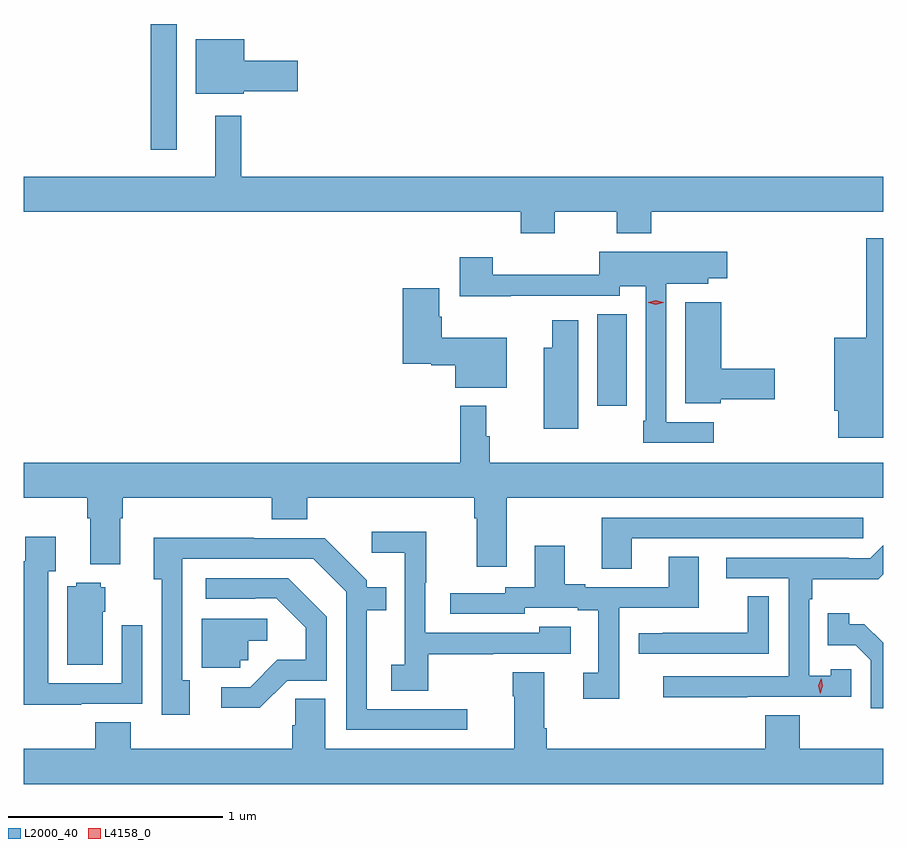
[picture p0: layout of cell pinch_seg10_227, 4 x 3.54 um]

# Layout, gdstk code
import gdstk
lib = gdstk.Library(unit=1e-6, precision=1e-09)
def R(c, l, rs):  # rectangles x0, y0, x1, y1
    for r in rs: c.add(gdstk.rectangle(r[:2], r[2:], *l))
def P(c, l, *ps):  # polygons
    for p in ps: c.add(gdstk.Polygon(p, *l))
L2000_40 = (2000, 40)
L4158_0 = (4158, 0)

pinch_seg10_227 = lib.new_cell('pinch_seg10_227')
R(pinch_seg10_227, L2000_40, [(618.452,1295.418,618.589,1295.843), (616.374,1296.609,616.495,1297.194)])
P(pinch_seg10_227, L2000_40, [(616.806,1296.88),(617.059,1296.88),(617.059,1297.022),(616.81,1297.022),(616.81,1297.123),(616.583,1297.123),(616.583,1296.869),(616.806,1296.869)],
  [(618.255,1296.32),(618.544,1296.32),(618.544,1296.221),(618.704,1296.221),(618.704,1296.32),(619.783,1296.32),(619.783,1296.484),(616.795,1296.484),(616.795,1296.766),(616.673,1296.766),(616.673,1296.484),(615.783,1296.484),(615.783,1296.32),(618.095,1296.32),(618.095,1296.221),(618.255,1296.221)],
  [(619.783,1296.196),(619.704,1296.196),(619.704,1295.734),(619.556,1295.734),(619.556,1295.394),(619.574,1295.394),(619.574,1295.267),(619.783,1295.267)],
  [(618.994,1295.34),(618.774,1295.34),(618.774,1295.984),(618.969,1295.984),(618.969,1296.011),(619.057,1296.011),(619.057,1296.133),(618.462,1296.133),(618.462,1296.026),(617.966,1296.026),(617.966,1296.109),(617.813,1296.109),(617.813,1295.927),(618.049,1295.927),(618.049,1295.928),(618.558,1295.928),(618.558,1295.972),(618.678,1295.972),(618.678,1295.347),(618.666,1295.347),(618.666,1295.244),(618.994,1295.244)],
  [(618.031,1295.734),(617.729,1295.734),(617.729,1295.831),(617.716,1295.831),(617.716,1295.965),(617.546,1295.965),(617.546,1295.612),(617.679,1295.612),(617.679,1295.605),(617.792,1295.605),(617.792,1295.501),(618.031,1295.501)],
  [(619.026,1295.446),(619.279,1295.446),(619.279,1295.588),(619.03,1295.588),(619.03,1295.899),(618.863,1295.899),(618.863,1295.429),(619.026,1295.429)],
  [(618.364,1295.815),(618.242,1295.815),(618.242,1295.686),(618.203,1295.686),(618.203,1295.309),(618.364,1295.309)],
  [(618.031,1294.988),(619.783,1294.988),(619.783,1295.152),(617.951,1295.152),(617.951,1295.276),(617.936,1295.276),(617.936,1295.416),(617.815,1295.416),(617.815,1295.152),(615.783,1295.152),(615.783,1294.988),(616.079,1294.988),(616.079,1294.892),(616.091,1294.892),(616.091,1294.679),(616.231,1294.679),(616.231,1294.892),(616.244,1294.892),(616.244,1294.988),(616.937,1294.988),(616.937,1294.889),(617.102,1294.889),(617.102,1294.988),(617.879,1294.988),(617.879,1294.892),(617.891,1294.892),(617.891,1294.668),(618.031,1294.668)],
  [(618.613,1294.8),(619.69,1294.8),(619.69,1294.896),(618.473,1294.896),(618.473,1294.657),(618.613,1294.657)],
  [(617.665,1294.261),(617.969,1294.261),(617.969,1294.263),(618.328,1294.263),(618.328,1294.387),(618.183,1294.387),(618.183,1294.359),(617.652,1294.359),(617.652,1294.592),(617.655,1294.592),(617.655,1294.831),(617.403,1294.831),(617.403,1294.733),(617.556,1294.733),(617.556,1294.212),(617.493,1294.212),(617.493,1294.09),(617.665,1294.09)],
  [(616.051,1294.029),(616.335,1294.029),(616.335,1294.396),(616.239,1294.396),(616.239,1294.125),(615.897,1294.125),(615.897,1294.646),(615.931,1294.646),(615.931,1294.807),(615.789,1294.807),(615.789,1294.694),(615.783,1294.694),(615.783,1294.025),(616.051,1294.025)],
  [(617.848,1294.005),(617.38,1294.005),(617.38,1294.464),(617.471,1294.464),(617.471,1294.573),(617.379,1294.573),(617.379,1294.605),(617.184,1294.8),(616.853,1294.8),(616.853,1294.802),(616.388,1294.802),(616.388,1294.61),(616.425,1294.61),(616.425,1293.978),(616.555,1293.978),(616.555,1294.138),(616.521,1294.138),(616.521,1294.704),(617.13,1294.704),(617.283,1294.551),(617.283,1293.909),(617.848,1293.909)],
  [(619.151,1294.062),(619.635,1294.062),(619.635,1294.191),(619.539,1294.191),(619.539,1294.159),(619.44,1294.159),(619.44,1294.517),(619.453,1294.517),(619.453,1294.61),(619.76,1294.61),(619.783,1294.633),(619.783,1294.768),(619.722,1294.707),(619.622,1294.707),(619.622,1294.71),(619.053,1294.71),(619.053,1294.614),(619.344,1294.614),(619.344,1294.158),(618.759,1294.158),(618.759,1294.06),(619.151,1294.06)],
  [(618.555,1294.476),(618.925,1294.476),(618.925,1294.715),(618.785,1294.715),(618.785,1294.572),(618.397,1294.572),(618.397,1294.585),(618.301,1294.585),(618.301,1294.765),(618.161,1294.765),(618.161,1294.572),(618.024,1294.572),(618.024,1294.545),(617.769,1294.545),(617.769,1294.449),(618.114,1294.449),(618.114,1294.476),(618.362,1294.476),(618.362,1294.464),(618.458,1294.464),(618.458,1294.173),(618.387,1294.173),(618.387,1294.053),(618.555,1294.053)],
  [(617.01,1294.137),(617.193,1294.137),(617.193,1294.435),(617.014,1294.614),(616.629,1294.614),(616.629,1294.518),(616.859,1294.518),(616.859,1294.521),(616.959,1294.521),(617.096,1294.384),(617.096,1294.234),(616.963,1294.234),(616.836,1294.107),(616.701,1294.107),(616.701,1294.01),(616.882,1294.01)],
  [(616.15,1294.458),(616.162,1294.458),(616.162,1294.572),(616.14,1294.572),(616.14,1294.594),(616.026,1294.594),(616.026,1294.576),(615.986,1294.576),(615.986,1294.21),(616.15,1294.21)],
  [(619.251,1294.529),(619.153,1294.529),(619.153,1294.359),(618.757,1294.359),(618.757,1294.358),(618.645,1294.358),(618.645,1294.263),(619.251,1294.263)],
  [(619.783,1294.313),(619.696,1294.4),(619.626,1294.4),(619.626,1294.45),(619.525,1294.45),(619.525,1294.302),(619.656,1294.302),(619.725,1294.233),(619.725,1294.008),(619.783,1294.008)],
  [(616.791,1294.233),(616.827,1294.233),(616.827,1294.322),(616.915,1294.322),(616.915,1294.425),(616.61,1294.425),(616.61,1294.197),(616.791,1294.197)],
  [(619.783,1293.82),(619.395,1293.82),(619.395,1293.977),(619.235,1293.977),(619.235,1293.82),(618.218,1293.82),(618.218,1293.916),(618.205,1293.916),(618.205,1294.177),(618.058,1294.177),(618.058,1294.064),(618.065,1294.064),(618.065,1293.82),(617.185,1293.82),(617.185,1294.052),(617.047,1294.052),(617.047,1293.93),(617.033,1293.93),(617.033,1293.82),(616.28,1293.82),(616.28,1293.944),(616.115,1293.944),(616.115,1293.82),(615.783,1293.82),(615.783,1293.656),(619.783,1293.656)])
P(pinch_seg10_227, L4158_0, [(619.491,1294.077),(619.491,1294.077),(619.482,1294.114),(619.494,1294.149),(619.494,1294.149),(619.494,1294.149),(619.502,1294.113),(619.491,1294.077)],
  [(618.725,1295.887),(618.69,1295.897),(618.69,1295.897),(618.69,1295.898),(618.725,1295.907),(618.76,1295.898),(618.761,1295.897),(618.76,1295.897)])

lib.write_gds('pinch_seg10_227.gds')
